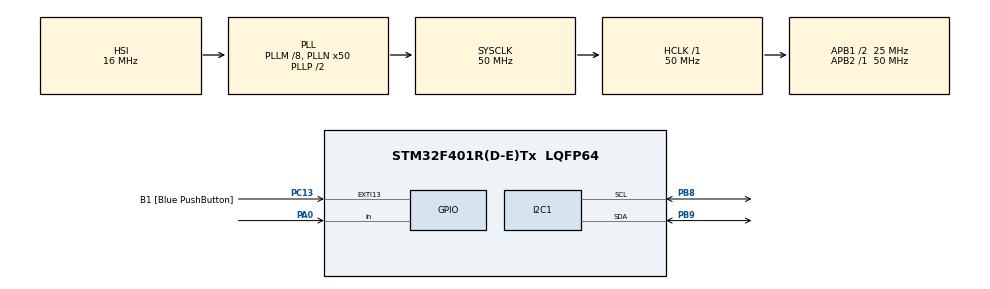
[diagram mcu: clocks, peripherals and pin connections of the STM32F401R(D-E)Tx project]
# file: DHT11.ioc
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Mcu.Family=STM32F4
Mcu.Name=STM32F401R(D-E)Tx
Mcu.Package=LQFP64
NVIC.PriorityGroup=NVIC_PRIORITYGROUP_0
PA0-WKUP.Signal=GPIO_Input
PB8.Mode=I2C
PB8.Signal=I2C1_SCL
PB9.Mode=I2C
PB9.Signal=I2C1_SDA
PC13-ANTI_TAMP.GPIO_Label=B1 [Blue PushButton]
PC13-ANTI_TAMP.GPIO_ModeDefaultEXTI=GPIO_MODE_IT_FALLING
PC13-ANTI_TAMP.GPIO_PuPd=GPIO_NOPULL
PC13-ANTI_TAMP.Signal=GPXTI13
PC14-OSC32_IN.Mode=LSE-External-Oscillator
PC14-OSC32_IN.Signal=RCC_OSC32_IN
PC15-OSC32_OUT.Mode=LSE-External-Oscillator
PC15-OSC32_OUT.Signal=RCC_OSC32_OUT
PH0\ -\ OSC_IN.Mode=HSE-External-Clock-Source
PH0\ -\ OSC_IN.Signal=RCC_OSC_IN
PH1\ -\ OSC_OUT.Mode=HSE-External-Clock-Source
PH1\ -\ OSC_OUT.Signal=RCC_OSC_OUT
ProjectManager.HeapSize=0x200
ProjectManager.StackSize=0x400
ProjectManager.TargetToolchain=STM32CubeIDE
RCC.48MHZClocksFreq_Value=14285714.285714285
RCC.AHBFreq_Value=50000000
RCC.APB1CLKDivider=RCC_HCLK_DIV2
RCC.APB1Freq_Value=25000000
RCC.APB1TimFreq_Value=50000000
RCC.APB2Freq_Value=50000000
RCC.APB2TimFreq_Value=50000000
RCC.CortexFreq_Value=50000000
RCC.HCLKFreq_Value=50000000
RCC.HSE_VALUE=8000000
RCC.HSI_VALUE=16000000
RCC.PLLM=8
RCC.PLLN=50
RCC.PLLQ=7
RCC.SYSCLKFreq_VALUE=50000000
RCC.SYSCLKSource=RCC_SYSCLKSOURCE_PLLCLK
RCC.VCOOutputFreq_Value=100000000
TIM3.Prescaler=50-1
VP_TIM3_VS_ClockSourceITR.Mode=TriggerSource_ITR0
board=NUCLEO-F401RE

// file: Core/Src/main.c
/* USER CODE BEGIN Header */
/**
  ******************************************************************************
  * @file           : main.c
  * @brief          : Main program body
  ******************************************************************************
  * @attention
  *
  * Copyright (c) 2024 STMicroelectronics.
  * All rights reserved.
  *
  * This software is licensed under terms that can be found in the LICENSE file
  * in the root directory of this software component.
  * If no LICENSE file comes with this software, it is provided AS-IS.
  *
  ******************************************************************************
  */
/* USER CODE END Header */
#include "main.h"

/* USER CODE BEGIN Includes */
#include "i2c-lcd.h"
#include "stdio.h"
/* USER CODE END Includes */

I2C_HandleTypeDef hi2c1;

TIM_HandleTypeDef htim3;

/* USER CODE BEGIN PV */
uint8_t Rh_byte1, Rh_byte2, Temp_byte1, Temp_byte2;
uint16_t SUM, RH, TEMP;
float Temperature = 0;
float Humidity = 0;
uint8_t Presence = 0;
/* USER CODE END PV */

void SystemClock_Config(void);
static void MX_GPIO_Init(void);
static void MX_I2C1_Init(void);
static void MX_TIM3_Init(void);

/* USER CODE BEGIN 0 */

void delay (uint16_t time)
{
	/* change your code here for the delay in microseconds */
	__HAL_TIM_SET_COUNTER(&htim3, 0);
	while ((__HAL_TIM_GET_COUNTER(&htim3))<time);
}

void Display_Temp (float Temp)
{
	char str[20] = {0};
	lcd_put_cur(0, 0);

	sprintf (str, "TEMP:- %.2f ", Temp);
	lcd_send_string(str);
	lcd_send_data('C');
}

void Display_Rh (float Rh)
{
	char str[20] = {0};
	lcd_put_cur(1, 0);

	sprintf (str, "RH:- %.2f ", Rh);
	lcd_send_string(str);
	lcd_send_data('%');
}

void Set_Pin_Output (GPIO_TypeDef *GPIOx, uint16_t GPIO_Pin)
{
	GPIO_InitTypeDef GPIO_InitStruct = {0};
	GPIO_InitStruct.Pin = GPIO_Pin;
	GPIO_InitStruct.Mode = GPIO_MODE_OUTPUT_PP;
	GPIO_InitStruct.Speed = GPIO_SPEED_FREQ_LOW;
	HAL_GPIO_Init(GPIOx, &GPIO_InitStruct);
}

void Set_Pin_Input (GPIO_TypeDef *GPIOx, uint16_t GPIO_Pin)
{
	GPIO_InitTypeDef GPIO_InitStruct = {0};
	GPIO_InitStruct.Pin = GPIO_Pin;
	GPIO_InitStruct.Mode = GPIO_MODE_INPUT;
	GPIO_InitStruct.Pull = GPIO_PULLUP;
	HAL_GPIO_Init(GPIOx, &GPIO_InitStruct);
}

/*********************************** DHT11 FUNCTIONS ********************************************/

#define DHT11_PORT GPIOA
#define DHT11_PIN GPIO_PIN_0

void DHT11_Start (void)
{
	Set_Pin_Output (DHT11_PORT, DHT11_PIN);  // set the pin as output
	HAL_GPIO_WritePin (DHT11_PORT, DHT11_PIN, 0);   // pull the pin low
	delay (18000);   // wait for 18ms
    HAL_GPIO_WritePin (DHT11_PORT, DHT11_PIN, 1);   // pull the pin high
	delay (20);   // wait for 20us
	Set_Pin_Input(DHT11_PORT, DHT11_PIN);    // set as input
}

uint8_t DHT11_Check_Response (void)
{
	uint8_t Response = 0;
	delay (40);
	if (!(HAL_GPIO_ReadPin (DHT11_PORT, DHT11_PIN)))
	{
		delay (80);
		if ((HAL_GPIO_ReadPin (DHT11_PORT, DHT11_PIN))) Response = 1;
		else Response = -1; // 255
	}
	while ((HAL_GPIO_ReadPin (DHT11_PORT, DHT11_PIN)));   // wait for the pin to go low

	return Response;
}

uint8_t DHT11_Read (void)
{
	uint8_t i,j;
	for (j=0;j<8;j++)
	{
		while (!(HAL_GPIO_ReadPin (DHT11_PORT, DHT11_PIN)));   // wait for the pin to go high
		delay (40);   // wait for 40 us
		if (!(HAL_GPIO_ReadPin (DHT11_PORT, DHT11_PIN)))   // if the pin is low
		{
			i&= ~(1<<(7-j));   // write 0
		}
		else i|= (1<<(7-j));  // if the pin is high, write 1
		while ((HAL_GPIO_ReadPin (DHT11_PORT, DHT11_PIN)));  // wait for the pin to go low
	}
	return i;
}

/* USER CODE END 0 */

int main(void)
{

  /* MCU Configuration--------------------------------------------------------*/

  /* Reset of all peripherals, Initializes the Flash interface and the Systick. */
  HAL_Init();

  /* Configure the system clock */
  SystemClock_Config();

  /* Initialize all configured peripherals */
  MX_GPIO_Init();
  MX_I2C1_Init();
  MX_TIM3_Init();
  /* USER CODE BEGIN 2 */

    HAL_TIM_Base_Start(&htim3);

    lcd_init();
    lcd_send_string("INITIALISING>>>>");
    HAL_Delay(2000);
    lcd_clear ();

  /* USER CODE END 2 */

  /* Infinite loop */
  while (1)
  {

    /* USER CODE BEGIN 3 */

	  Display_Temp(Temperature);
	  Display_Rh(Humidity);

	  /********************** DHT11 *********************/

	  DHT11_Start();
	  Presence = DHT11_Check_Response();
	  Rh_byte1 = DHT11_Read ();
	  Rh_byte2 = DHT11_Read ();
	  Temp_byte1 = DHT11_Read ();
	  Temp_byte2 = DHT11_Read ();
	  SUM = DHT11_Read();

	  TEMP = Temp_byte1;
	  RH = Rh_byte1;

	  Temperature = (float) TEMP;
	  Humidity = (float) RH;

	  HAL_Delay(1000);
  }
  /* USER CODE END 3 */
}

void SystemClock_Config(void)
{
  RCC_OscInitTypeDef RCC_OscInitStruct = {0};
  RCC_ClkInitTypeDef RCC_ClkInitStruct = {0};

  /** Configure the main internal regulator output voltage
  */
  __HAL_RCC_PWR_CLK_ENABLE();
  __HAL_PWR_VOLTAGESCALING_CONFIG(PWR_REGULATOR_VOLTAGE_SCALE2);

  /** Initializes the RCC Oscillators according to the specified parameters
  * in the RCC_OscInitTypeDef structure.
  */
  RCC_OscInitStruct.OscillatorType = RCC_OSCILLATORTYPE_HSI;
  RCC_OscInitStruct.HSIState = RCC_HSI_ON;
  RCC_OscInitStruct.HSICalibrationValue = RCC_HSICALIBRATION_DEFAULT;
  RCC_OscInitStruct.PLL.PLLState = RCC_PLL_ON;
  RCC_OscInitStruct.PLL.PLLSource = RCC_PLLSOURCE_HSI;
  RCC_OscInitStruct.PLL.PLLM = 8;
  RCC_OscInitStruct.PLL.PLLN = 50;
  RCC_OscInitStruct.PLL.PLLP = RCC_PLLP_DIV2;
  RCC_OscInitStruct.PLL.PLLQ = 7;
  if (HAL_RCC_OscConfig(&RCC_OscInitStruct) != HAL_OK)
  {
    Error_Handler();
  }

  /** Initializes the CPU, AHB and APB buses clocks
  */
  RCC_ClkInitStruct.ClockType = RCC_CLOCKTYPE_HCLK|RCC_CLOCKTYPE_SYSCLK
                              |RCC_CLOCKTYPE_PCLK1|RCC_CLOCKTYPE_PCLK2;
  RCC_ClkInitStruct.SYSCLKSource = RCC_SYSCLKSOURCE_PLLCLK;
  RCC_ClkInitStruct.AHBCLKDivider = RCC_SYSCLK_DIV1;
  RCC_ClkInitStruct.APB1CLKDivider = RCC_HCLK_DIV2;
  RCC_ClkInitStruct.APB2CLKDivider = RCC_HCLK_DIV1;

  if (HAL_RCC_ClockConfig(&RCC_ClkInitStruct, FLASH_LATENCY_1) != HAL_OK)
  {
    Error_Handler();
  }
}

static void MX_I2C1_Init(void)
{

  hi2c1.Instance = I2C1;
  hi2c1.Init.ClockSpeed = 100000;
  hi2c1.Init.DutyCycle = I2C_DUTYCYCLE_2;
  hi2c1.Init.OwnAddress1 = 0;
  hi2c1.Init.AddressingMode = I2C_ADDRESSINGMODE_7BIT;
  hi2c1.Init.DualAddressMode = I2C_DUALADDRESS_DISABLE;
  hi2c1.Init.OwnAddress2 = 0;
  hi2c1.Init.GeneralCallMode = I2C_GENERALCALL_DISABLE;
  hi2c1.Init.NoStretchMode = I2C_NOSTRETCH_DISABLE;
  if (HAL_I2C_Init(&hi2c1) != HAL_OK)
  {
    Error_Handler();
  }

}

static void MX_TIM3_Init(void)
{

  TIM_SlaveConfigTypeDef sSlaveConfig = {0};
  TIM_MasterConfigTypeDef sMasterConfig = {0};

  htim3.Instance = TIM3;
  htim3.Init.Prescaler = 50-1;
  htim3.Init.CounterMode = TIM_COUNTERMODE_UP;
  htim3.Init.Period = 65535;
  htim3.Init.ClockDivision = TIM_CLOCKDIVISION_DIV1;
  htim3.Init.AutoReloadPreload = TIM_AUTORELOAD_PRELOAD_DISABLE;
  if (HAL_TIM_Base_Init(&htim3) != HAL_OK)
  {
    Error_Handler();
  }
  sSlaveConfig.SlaveMode = TIM_SLAVEMODE_DISABLE;
  sSlaveConfig.InputTrigger = TIM_TS_ITR0;
  if (HAL_TIM_SlaveConfigSynchro(&htim3, &sSlaveConfig) != HAL_OK)
  {
    Error_Handler();
  }
  sMasterConfig.MasterOutputTrigger = TIM_TRGO_RESET;
  sMasterConfig.MasterSlaveMode = TIM_MASTERSLAVEMODE_DISABLE;
  if (HAL_TIMEx_MasterConfigSynchronization(&htim3, &sMasterConfig) != HAL_OK)
  {
    Error_Handler();
  }

}

static void MX_GPIO_Init(void)
{
  GPIO_InitTypeDef GPIO_InitStruct = {0};

  /* GPIO Ports Clock Enable */
  __HAL_RCC_GPIOC_CLK_ENABLE();
  __HAL_RCC_GPIOH_CLK_ENABLE();
  __HAL_RCC_GPIOA_CLK_ENABLE();
  __HAL_RCC_GPIOB_CLK_ENABLE();

  /*Configure GPIO pin : B1_Pin */
  GPIO_InitStruct.Pin = B1_Pin;
  GPIO_InitStruct.Mode = GPIO_MODE_IT_FALLING;
  GPIO_InitStruct.Pull = GPIO_NOPULL;
  HAL_GPIO_Init(B1_GPIO_Port, &GPIO_InitStruct);

  /*Configure GPIO pin : PA0 */
  GPIO_InitStruct.Pin = GPIO_PIN_0;
  GPIO_InitStruct.Mode = GPIO_MODE_INPUT;
  GPIO_InitStruct.Pull = GPIO_NOPULL;
  HAL_GPIO_Init(GPIOA, &GPIO_InitStruct);

}

void Error_Handler(void)
{
  __disable_irq();
  while (1)
  {
  }
}
